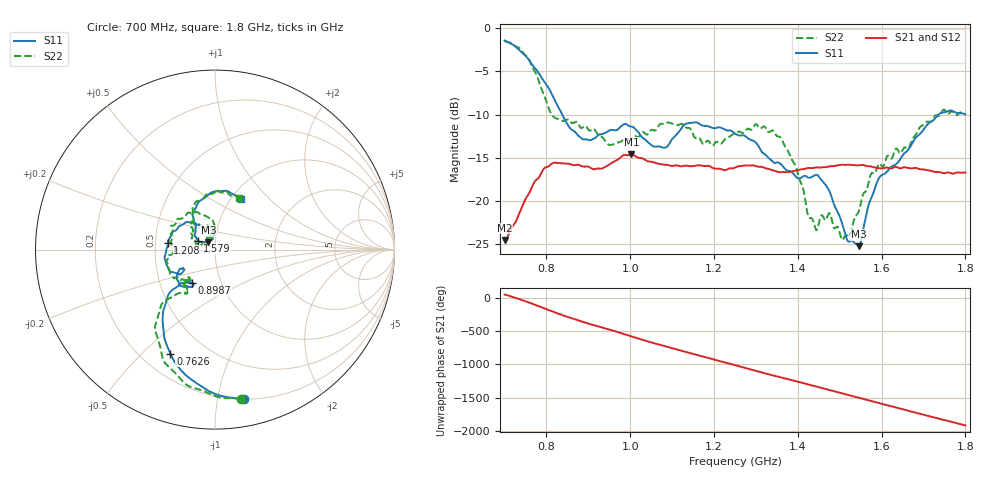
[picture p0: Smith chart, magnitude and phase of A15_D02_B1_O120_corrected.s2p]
! Created with skrf 1.9.0 (http://scikit-rf.org).
# Hz S RI R 50.0
!freq ReS11 ImS11 ReS21 ImS21 ReS12 ImS12 ReS22 ImS22
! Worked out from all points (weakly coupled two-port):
!   1601 points, 700 MHz to 1.8 GHz, reference 50 ohm
!   highest |S21| = -14.62 dB at 1.002 GHz (marker M1); lowest = -24.6 dB at 700.7 MHz (marker M2)
!   lowest |S11| = -25.3 dB at 1.545 GHz (marker M3), VSWR 1.12, Z = 46.3 + j3.74 ohm
!   |S11| at or under -10 dB: 837.6 MHz to 1.736 GHz (898.1 MHz wide, 69.8 % of centre)
!   |S22| runs from -24.5 to -1.5 dB; largest |S21 - S12| = 0.0034
!   S11 on the Smith chart (normalised r, x): 700 MHz: 0.20, -1.19; 762.6 MHz: 0.32, -0.61; 898.7 MHz: 0.73, -0.29; 1.208 GHz: 0.58, +0.05; 1.579 GHz: 0.82, +0.08; 1.8 GHz: 1.12, +0.70
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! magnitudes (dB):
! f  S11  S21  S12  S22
! 700 MHz  -1.4  -24.5  -24.3  -1.5
! 700.7 MHz  -1.4  -24.6  -24.2  -1.5
! 762.6 MHz  -4.0  -18.7  -18.7  -4.1
! 814.1 MHz  -7.8  -15.6  -15.7  -10.1
! 883.6 MHz  -12.8  -16.0  -15.9  -11.6
! 898.7 MHz  -12.9  -16.0  -16.1  -11.7
! 950.9 MHz  -11.8  -15.8  -15.8  -13.5
! 1.002 GHz  -11.4  -14.6  -14.7  -12.8
! 1.067 GHz  -13.7  -15.7  -15.7  -11.3
! 1.135 GHz  -11.0  -15.9  -15.9  -11.6
! 1.208 GHz  -11.5  -16.3  -16.3  -13.2
! 1.25 GHz  -12.2  -16.2  -16.1  -12.2
! 1.3 GHz  -13.3  -16.0  -16.0  -11.1
! 1.359 GHz  -15.7  -16.7  -16.7  -12.7
! 1.434 GHz  -17.2  -16.2  -16.2  -22.1
! 1.476 GHz  -18.9  -16.0  -16.0  -21.4
! 1.508 GHz  -23.0  -15.8  -15.8  -24.5
! 1.545 GHz  -25.3  -15.9  -15.9  -21.3
! 1.579 GHz  -19.3  -16.1  -16.1  -16.8
! 1.617 GHz  -16.4  -16.2  -16.2  -14.8
! 1.737 GHz  -9.9  -16.7  -16.7  -10.2
! 1.8 GHz  -10.0  -16.7  -16.7  -10.0
